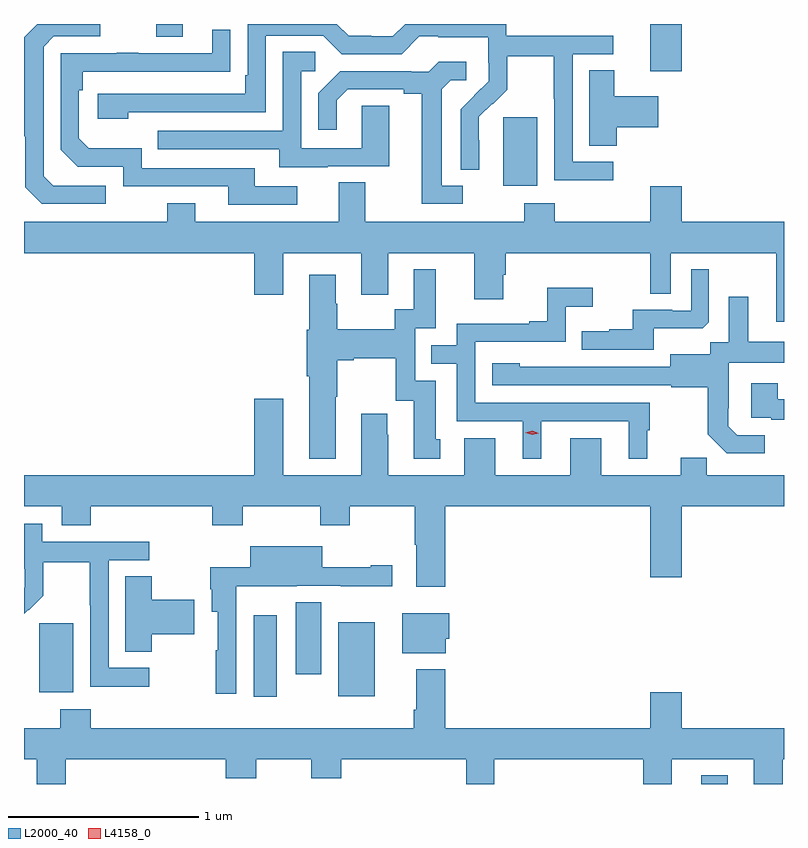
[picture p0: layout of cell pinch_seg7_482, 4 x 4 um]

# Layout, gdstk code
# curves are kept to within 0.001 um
import gdstk
lib = gdstk.Library(unit=1e-6, precision=1e-09)
def R(c, l, rs):  # rectangles x0, y0, x1, y1
    for r in rs: c.add(gdstk.rectangle(r[:2], r[2:], *l))
def P(c, l, *ps):  # polygons
    for p in ps: c.add(gdstk.Polygon(p, *l))
L2000_40 = (2000, 40)
L4158_0 = (4158, 0)

pinch_seg7_482 = lib.new_cell('pinch_seg7_482')
R(pinch_seg7_482, L2000_40, [(225.215,1077.742,225.355,1077.787), (222.86,1078.2,222.982,1078.63), (223.304,1078.205,223.498,1078.594), (221.732,1078.226,221.911,1078.587), (223.082,1078.32,223.216,1078.699), (224.174,1080.89,224.353,1081.251), (224.948,1081.494,225.112,1081.742), (222.347,1081.674,222.487,1081.742)])
P(pinch_seg7_482, L2000_40, [(222.082,1080.891),(221.805,1080.891),(221.754,1080.942),(221.754,1081.623),(221.808,1081.677),(222.052,1081.677),(222.052,1081.742),(221.72,1081.742),(221.651,1081.672),(221.651,1081.151),(221.658,1081.151),(221.658,1080.882),(221.745,1080.795),(222.082,1080.795)],
  [(224.752,1081.017),(224.538,1081.017),(224.538,1081.584),(224.752,1081.584),(224.752,1081.68),(224.19,1081.68),(224.19,1081.742),(223.658,1081.742),(223.593,1081.677),(223.478,1081.677),(223.478,1081.68),(223.359,1081.68),(223.297,1081.742),(222.828,1081.742),(222.828,1081.471),(222.815,1081.471),(222.815,1081.374),(222.039,1081.374),(222.039,1081.244),(222.2,1081.244),(222.2,1081.278),(222.924,1081.278),(222.924,1081.68),(223.227,1081.68),(223.323,1081.584),(223.638,1081.584),(223.731,1081.677),(223.831,1081.677),(223.831,1081.673),(224.094,1081.673),(224.094,1081.539),(224.096,1081.539),(224.096,1081.442),(223.95,1081.294),(223.95,1080.976),(224.046,1080.976),(224.045,1081.253),(224.115,1081.323),(224.118,1081.32),(224.195,1081.397),(224.195,1081.572),(224.44,1081.572),(224.44,1081.348),(224.442,1081.348),(224.442,1080.919),(224.752,1080.919)],
  [(223.09,1080.888),(222.865,1080.888),(222.865,1080.984),(222.27,1080.984),(222.27,1081.087),(221.993,1081.087),(221.94,1081.14),(221.94,1081.394),(221.96,1081.394),(221.96,1081.491),(222.737,1081.492),(222.737,1081.711),(222.641,1081.711),(222.641,1081.587),(222.251,1081.587),(222.251,1081.592),(222.139,1081.592),(222.139,1081.587),(221.844,1081.587),(221.844,1081.08),(221.934,1080.99),(222.174,1080.99),(222.174,1080.888),(222.725,1080.888),(222.725,1080.792),(223.09,1080.792)],
  [(223.249,1080.993),(223.573,1080.993),(223.573,1081.313),(223.428,1081.313),(223.428,1081.089),(223.11,1081.089),(223.11,1081.494),(223.183,1081.494),(223.183,1081.595),(223.014,1081.595),(223.014,1081.179),(222.355,1081.179),(222.355,1081.083),(222.995,1081.083),(222.995,1080.989),(223.249,1080.989)],
  [(223.96,1080.891),(223.849,1080.891),(223.849,1081.399),(223.896,1081.446),(223.978,1081.446),(223.978,1081.543),(223.834,1081.543),(223.782,1081.491),(223.688,1081.491),(223.688,1081.494),(223.316,1081.494),(223.2,1081.378),(223.2,1081.185),(223.297,1081.185),(223.297,1081.341),(223.354,1081.398),(223.649,1081.398),(223.649,1081.376),(223.745,1081.376),(223.745,1080.795),(223.96,1080.795)],
  [(224.771,1081.198),(224.989,1081.198),(224.989,1081.363),(224.758,1081.363),(224.758,1081.499),(224.627,1081.499),(224.627,1081.102),(224.771,1081.102)],
  [(225.651,1080.7),(225.112,1080.7),(225.112,1080.889),(224.948,1080.889),(224.948,1080.7),(224.444,1080.7),(224.444,1080.799),(224.284,1080.799),(224.284,1080.7),(223.447,1080.7),(223.447,1080.908),(223.307,1080.908),(223.307,1080.7),(222.553,1080.7),(222.553,1080.799),(222.406,1080.799),(222.406,1080.7),(221.651,1080.7),(221.651,1080.536),(222.863,1080.536),(222.863,1080.318),(223.015,1080.318),(223.015,1080.536),(223.427,1080.536),(223.427,1080.318),(223.567,1080.318),(223.567,1080.536),(224.021,1080.536),(224.021,1080.294),(224.173,1080.294),(224.173,1080.423),(224.186,1080.423),(224.186,1080.536),(224.946,1080.536),(224.946,1080.322),(225.054,1080.322),(225.054,1080.536),(225.611,1080.536),(225.611,1080.174),(225.651,1080.174)],
  [(224.965,1080.14),(225.223,1080.14),(225.255,1080.171),(225.255,1080.451),(225.162,1080.451),(225.162,1080.234),(225.062,1080.234),(225.062,1080.237),(224.855,1080.237),(224.855,1080.136),(224.731,1080.136),(224.731,1080.124),(224.587,1080.124),(224.587,1080.027),(224.965,1080.027)],
  [(223.291,1079.779),(223.299,1079.779),(223.299,1079.972),(223.387,1079.972),(223.387,1079.984),(223.607,1079.984),(223.607,1079.76),(223.703,1079.76),(223.703,1079.454),(223.843,1079.454),(223.843,1079.556),(223.819,1079.556),(223.819,1079.865),(223.71,1079.865),(223.71,1080.141),(223.819,1080.141),(223.819,1080.451),(223.703,1080.451),(223.703,1080.242),(223.602,1080.242),(223.602,1080.136),(223.299,1080.136),(223.299,1080.27),(223.291,1080.27),(223.291,1080.421),(223.151,1080.421),(223.151,1080.132),(223.139,1080.132),(223.139,1079.888),(223.151,1079.888),(223.151,1079.453),(223.291,1079.453)],
  [(224.374,1079.652),(224.834,1079.652),(224.834,1079.453),(224.932,1079.453),(224.932,1079.604),(224.944,1079.604),(224.944,1079.748),(224.025,1079.748),(224.025,1080.069),(224.502,1080.069),(224.502,1080.254),(224.644,1080.254),(224.644,1080.353),(224.404,1080.353),(224.404,1080.178),(224.309,1080.178),(224.309,1080.165),(223.929,1080.165),(223.929,1080.051),(223.795,1080.051),(223.795,1079.955),(223.929,1079.955),(223.929,1079.652),(224.276,1079.652),(224.276,1079.453),(224.374,1079.453)],
  [(225.55,1079.577),(225.405,1079.577),(225.358,1079.624),(225.358,1079.719),(225.36,1079.719),(225.36,1079.96),(225.651,1079.96),(225.651,1080.07),(225.463,1080.07),(225.463,1080.307),(225.359,1080.307),(225.359,1080.068),(225.264,1080.068),(225.264,1080.004),(225.053,1080.004),(225.053,1079.937),(224.259,1079.938),(224.259,1079.956),(224.115,1079.956),(224.115,1079.841),(225.057,1079.841),(225.057,1079.829),(225.249,1079.829),(225.249,1079.583),(225.349,1079.483),(225.55,1079.483)],
  [(225.651,1079.766),(225.619,1079.766),(225.619,1079.851),(225.479,1079.851),(225.479,1079.67),(225.583,1079.67),(225.583,1079.658),(225.651,1079.658)],
  [(223.868,1079.204),(224.948,1079.204),(224.948,1078.83),(225.112,1078.83),(225.112,1079.204),(225.651,1079.204),(225.651,1079.368),(225.245,1079.368),(225.245,1079.459),(225.107,1079.459),(225.107,1079.368),(224.689,1079.368),(224.689,1079.563),(224.525,1079.563),(224.525,1079.368),(224.131,1079.368),(224.131,1079.563),(223.967,1079.563),(223.967,1079.368),(223.567,1079.368),(223.567,1079.579),(223.564,1079.579),(223.564,1079.692),(223.427,1079.692),(223.427,1079.368),(223.015,1079.368),(223.015,1079.77),(222.863,1079.77),(222.863,1079.368),(221.651,1079.368),(221.651,1079.204),(221.849,1079.204),(221.849,1079.105),(222.002,1079.105),(222.002,1079.204),(222.641,1079.204),(222.641,1079.105),(222.801,1079.105),(222.801,1079.204),(223.21,1079.204),(223.21,1079.105),(223.365,1079.105),(223.365,1079.204),(223.708,1079.204),(223.708,1079),(223.715,1079),(223.715,1078.779),(223.868,1078.779)],
  [(222.31,1078.353),(222.096,1078.353),(222.096,1078.92),(222.31,1078.92),(222.31,1079.016),(221.748,1079.016),(221.748,1079.113),(221.651,1079.113),(221.652,1078.875),(221.654,1078.875),(221.654,1078.778),(221.651,1078.775),(221.651,1078.637),(221.673,1078.659),(221.676,1078.656),(221.753,1078.733),(221.753,1078.908),(221.998,1078.908),(221.998,1078.684),(222,1078.684),(222,1078.255),(222.31,1078.255)],
  [(222.768,1078.784),(223.086,1078.784),(223.086,1078.785),(223.318,1078.785),(223.318,1078.784),(223.588,1078.784),(223.588,1078.894),(223.475,1078.894),(223.475,1078.884),(223.222,1078.884),(223.222,1078.993),(222.842,1078.993),(222.842,1078.884),(222.631,1078.884),(222.631,1078.766),(222.638,1078.766),(222.638,1078.649),(222.672,1078.649),(222.672,1078.445),(222.66,1078.445),(222.66,1078.218),(222.768,1078.218)],
  [(222.324,1078.529),(222.547,1078.529),(222.547,1078.712),(222.324,1078.712),(222.324,1078.835),(222.185,1078.835),(222.185,1078.438),(222.324,1078.438)],
  [(223.87,1078.506),(223.888,1078.506),(223.888,1078.642),(223.643,1078.642),(223.643,1078.43),(223.87,1078.43)],
  [(221.87,1077.872),(222.713,1077.872),(222.713,1077.773),(222.873,1077.773),(222.873,1077.872),(223.162,1077.872),(223.162,1077.773),(223.322,1077.773),(223.322,1077.872),(223.978,1077.872),(223.978,1077.742),(224.125,1077.742),(224.125,1077.872),(224.909,1077.872),(224.909,1077.742),(225.061,1077.742),(225.061,1077.872),(225.491,1077.872),(225.491,1077.742),(225.644,1077.742),(225.644,1077.872),(225.651,1077.872),(225.651,1078.036),(225.112,1078.036),(225.112,1078.225),(224.948,1078.225),(224.948,1078.036),(223.868,1078.036),(223.868,1078.345),(223.715,1078.345),(223.715,1078.132),(223.703,1078.132),(223.703,1078.036),(222.002,1078.036),(222.002,1078.135),(221.842,1078.135),(221.842,1078.036),(221.651,1078.036),(221.651,1077.872),(221.717,1077.872),(221.717,1077.742),(221.87,1077.742)])
P(pinch_seg7_482, L4158_0, [(224.325,1079.58),(224.289,1079.59),(224.289,1079.59),(224.289,1079.59),(224.325,1079.6),(224.361,1079.589),(224.361,1079.589),(224.361,1079.589)])

lib.write_gds('pinch_seg7_482.gds')
